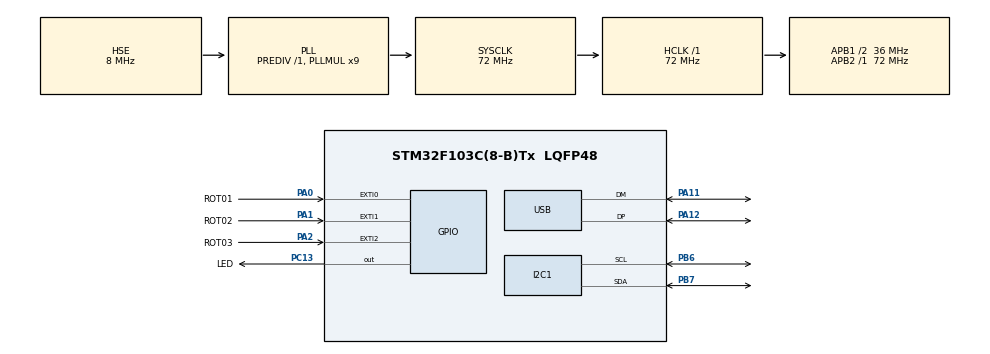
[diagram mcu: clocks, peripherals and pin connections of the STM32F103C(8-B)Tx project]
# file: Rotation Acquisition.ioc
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Mcu.Family=STM32F1
Mcu.Name=STM32F103C(8-B)Tx
Mcu.Package=LQFP48
NVIC.EXTI0_IRQn=true\:0\:0\:false\:false\:true\:true\:true\:true
NVIC.EXTI1_IRQn=true\:0\:0\:false\:false\:true\:true\:true\:true
NVIC.EXTI2_IRQn=true\:0\:0\:false\:false\:true\:true\:true\:true
NVIC.PriorityGroup=NVIC_PRIORITYGROUP_4
NVIC.USB_HP_CAN1_TX_IRQn=true\:0\:0\:false\:false\:true\:true\:true\:true
NVIC.USB_LP_CAN1_RX0_IRQn=true\:0\:0\:false\:false\:true\:false\:true\:true
PA0-WKUP.GPIO_Label=ROT01
PA0-WKUP.GPIO_ModeDefaultEXTI=GPIO_MODE_IT_RISING_FALLING
PA0-WKUP.Signal=GPXTI0
PA1.GPIO_Label=ROT02
PA1.GPIO_ModeDefaultEXTI=GPIO_MODE_IT_RISING_FALLING
PA1.Signal=GPXTI1
PA11.Mode=Device
PA11.Signal=USB_DM
PA12.Mode=Device
PA12.Signal=USB_DP
PA13.Mode=Serial_Wire
PA13.Signal=SYS_JTMS-SWDIO
PA14.Mode=Serial_Wire
PA14.Signal=SYS_JTCK-SWCLK
PA2.GPIO_Label=ROT03
PA2.GPIO_ModeDefaultEXTI=GPIO_MODE_IT_RISING_FALLING
PA2.Signal=GPXTI2
PB6.Mode=I2C
PB6.Signal=I2C1_SCL
PB7.Mode=I2C
PB7.Signal=I2C1_SDA
PC13-TAMPER-RTC.GPIO_Label=LED
PC13-TAMPER-RTC.Signal=GPIO_Output
PD0-OSC_IN.Mode=HSE-External-Oscillator
PD0-OSC_IN.Signal=RCC_OSC_IN
PD1-OSC_OUT.Mode=HSE-External-Oscillator
PD1-OSC_OUT.Signal=RCC_OSC_OUT
ProjectManager.HeapSize=0x200
ProjectManager.StackSize=0x400
ProjectManager.TargetToolchain=STM32CubeIDE
RCC.AHBFreq_Value=72000000
RCC.APB1CLKDivider=RCC_HCLK_DIV2
RCC.APB1Freq_Value=36000000
RCC.APB1TimFreq_Value=72000000
RCC.APB2Freq_Value=72000000
RCC.APB2TimFreq_Value=72000000
RCC.HCLKFreq_Value=72000000
RCC.PLLMUL=RCC_PLL_MUL9
RCC.PLLSourceVirtual=RCC_PLLSOURCE_HSE
RCC.SYSCLKFreq_VALUE=72000000
RCC.SYSCLKSource=RCC_SYSCLKSOURCE_PLLCLK
RCC.USBFreq_Value=48000000
RCC.USBPrescaler=RCC_USBCLKSOURCE_PLL_DIV1_5
USB_DEVICE.CLASS_NAME_FS=CDC
USB_DEVICE.MANUFACTURER_STRING=STMicroelectronics
USB_DEVICE.VirtualMode=Cdc
USB_DEVICE.VirtualModeFS=Cdc_FS
VP_USB_DEVICE_VS_USB_DEVICE_CDC_FS.Mode=CDC_FS
board=custom

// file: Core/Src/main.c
/* USER CODE BEGIN Header */
/**
  ******************************************************************************
  * @file           : main.c
  * @brief          : Main program body
  ******************************************************************************
  * @attention
  *
  * Copyright (c) 2024 STMicroelectronics.
  * All rights reserved.
  *
  * This software is licensed under terms that can be found in the LICENSE file
  * in the root directory of this software component.
  * If no LICENSE file comes with this software, it is provided AS-IS.
  *
  ******************************************************************************
  */
/* USER CODE END Header */
#include "main.h"
#include "i2c.h"
#include "usb_device.h"
#include "gpio.h"

/* USER CODE BEGIN Includes */
#include "usbd_cdc_if.h"
#include "stdio.h"
#include "string.h"
#include <stdint.h>
/* USER CODE END Includes */

/* USER CODE BEGIN PD */
#define MPU6050_ADDR 0xD0

#define SMPLRT_DIV_REG 0x19
#define GYRO_CONFIG_REG 0x1B
#define ACCEL_CONFIG_REG 0x1C
#define ACCEL_XOUT_H_REG 0x3B
#define TEMP_OUT_H_REG 0x41
#define GYRO_XOUT_H_REG 0x43
#define PWR_MGMT_1_REG 0x6B
#define WHO_AM_I_REG 0x75
/* USER CODE END PD */

/* USER CODE BEGIN PV */
uint16_t rotPulsesCnt_01 = 0;	// Variable to count the pulses in Interrupt Pin ROT01
uint16_t rotPulsesCnt_02 = 0;	// Variable to count the pulses in Interrupt Pin ROT02
uint16_t rotPulsesCnt_03 = 0;	// Variable to count the pulses in Interrupt Pin ROT03

uint16_t rot_01 = 0;	// Value of rotation in the Interrupt Pin ROT01
uint16_t rot_02 = 0;	// Value of rotation in the Interrupt Pin ROT02
uint16_t rot_03 = 0;	// Value of rotation in the Interrupt Pin ROT03
uint16_t timer_bfr = 0; // Timer before
uint16_t timer_curr = 0; // Current time
uint16_t rot_buff[3] = {0};

uint8_t Data;

int16_t Accel_X_RAW = 0;
int16_t Accel_Y_RAW = 0;
int16_t Accel_Z_RAW = 0;

int16_t Gyro_X_RAW = 0;
int16_t Gyro_Y_RAW = 0;
int16_t Gyro_Z_RAW = 0;

float accel[3];
int16_t dados[6];

float Ax, Ay, Az, Gx, Gy, Gz;

/* USER CODE END PV */

void SystemClock_Config(void);
/* USER CODE BEGIN PFP */
void HAL_GPIO_EXTI_Callback(uint16_t GPIO_Pin);
/* USER CODE END PFP */

int main(void)
{

  /* MCU Configuration--------------------------------------------------------*/

  /* Reset of all peripherals, Initializes the Flash interface and the Systick. */
  HAL_Init();

  /* Configure the system clock */
  SystemClock_Config();

  /* Initialize all configured peripherals */
  MX_GPIO_Init();
  MX_USB_DEVICE_Init();
  MX_I2C1_Init();
  /* USER CODE BEGIN 2 */
  MPU6050_Init();

  /* USER CODE END 2 */

  /* Infinite loop */
  /* USER CODE BEGIN WHILE */

  while (1)
  {

	  /* Get tick in millis */
	  timer_curr = HAL_GetTick();

	  /* Get the difference between the current timer and last timer in millis
	   * Calculate the rotation each 1000ms */
	  uint16_t timer_diff = timer_curr - timer_bfr;
	  if (timer_diff >= 100) {

		  MPU6050_Read_Accel();
//		  /* Calculate rotations in RPM*/
//		  rot_01 = 3*rotPulsesCnt_01;
//		  rot_02 = 3*rotPulsesCnt_02;
//		  rot_03 = 3*rotPulsesCnt_03;
//
//		  /* Reset pulse variables */
//		  rotPulsesCnt_01 = 0;
//		  rotPulsesCnt_02 = 0;
//		  rotPulsesCnt_03 = 0;
//
//		  /* Fill the buffer to transmit via USB*/
//		  rot_buff[0] = rot_01;
//		  rot_buff[1] = rot_02;
//		  rot_buff[2] = rot_03;
//
//		  /* Set the timer before as a current timer */
//		  timer_bfr = timer_curr;
//		  dados[0] = rot_buff[0];
//		  dados[1] = rot_buff[1];
//		  dados[2] = rot_buff[2];
		  dados[3] = Accel_X_RAW;
		  dados[4] = Accel_Y_RAW;
		  dados[5] = Accel_Z_RAW;

		  /* Transmit via USB */
		  CDC_Transmit_FS(dados, 12);
	  }
	  if (timer_diff >= 1000) {

		  MPU6050_Read_Accel();

		  /* Calculate rotations in RPM*/
		  rot_01 = 3*rotPulsesCnt_01;
		  rot_02 = 3*rotPulsesCnt_02;
		  rot_03 = 3*rotPulsesCnt_03;

		  /* Reset pulse variables */
		  rotPulsesCnt_01 = 0;
		  rotPulsesCnt_02 = 0;
		  rotPulsesCnt_03 = 0;

		  /* Fill the buffer to transmit via USB*/
		  rot_buff[0] = rot_01;
		  rot_buff[1] = rot_02;
		  rot_buff[2] = rot_03;

		  /* Set the timer before as a current timer */
		  timer_bfr = timer_curr;
		  dados[0] = rot_buff[0];
		  dados[1] = rot_buff[1];
		  dados[2] = rot_buff[2];

	  }

    /* USER CODE END WHILE */

  }
}

void SystemClock_Config(void)
{
  RCC_OscInitTypeDef RCC_OscInitStruct = {0};
  RCC_ClkInitTypeDef RCC_ClkInitStruct = {0};
  RCC_PeriphCLKInitTypeDef PeriphClkInit = {0};

  /** Initializes the RCC Oscillators according to the specified parameters
  * in the RCC_OscInitTypeDef structure.
  */
  RCC_OscInitStruct.OscillatorType = RCC_OSCILLATORTYPE_HSE;
  RCC_OscInitStruct.HSEState = RCC_HSE_ON;
  RCC_OscInitStruct.HSEPredivValue = RCC_HSE_PREDIV_DIV1;
  RCC_OscInitStruct.HSIState = RCC_HSI_ON;
  RCC_OscInitStruct.PLL.PLLState = RCC_PLL_ON;
  RCC_OscInitStruct.PLL.PLLSource = RCC_PLLSOURCE_HSE;
  RCC_OscInitStruct.PLL.PLLMUL = RCC_PLL_MUL9;
  if (HAL_RCC_OscConfig(&RCC_OscInitStruct) != HAL_OK)
  {
    Error_Handler();
  }

  /** Initializes the CPU, AHB and APB buses clocks
  */
  RCC_ClkInitStruct.ClockType = RCC_CLOCKTYPE_HCLK|RCC_CLOCKTYPE_SYSCLK
                              |RCC_CLOCKTYPE_PCLK1|RCC_CLOCKTYPE_PCLK2;
  RCC_ClkInitStruct.SYSCLKSource = RCC_SYSCLKSOURCE_PLLCLK;
  RCC_ClkInitStruct.AHBCLKDivider = RCC_SYSCLK_DIV1;
  RCC_ClkInitStruct.APB1CLKDivider = RCC_HCLK_DIV2;
  RCC_ClkInitStruct.APB2CLKDivider = RCC_HCLK_DIV1;

  if (HAL_RCC_ClockConfig(&RCC_ClkInitStruct, FLASH_LATENCY_2) != HAL_OK)
  {
    Error_Handler();
  }
  PeriphClkInit.PeriphClockSelection = RCC_PERIPHCLK_USB;
  PeriphClkInit.UsbClockSelection = RCC_USBCLKSOURCE_PLL_DIV1_5;
  if (HAL_RCCEx_PeriphCLKConfig(&PeriphClkInit) != HAL_OK)
  {
    Error_Handler();
  }
}

/* USER CODE BEGIN 4 */

/* External Interrupt Callback */
void HAL_GPIO_EXTI_Callback(uint16_t GPIO_Pin) {
	HAL_GPIO_TogglePin(LED_GPIO_Port, LED_Pin);	//Blink LED for debug
	if(GPIO_Pin == ROT01_Pin) {		//If pulse in ROT01 is detected, increase of pulse count variable.
		rotPulsesCnt_01++;
		return;
	}
	if(GPIO_Pin == ROT02_Pin) {		//If pulse in ROT02 is detected, increase of pulse count variable.
		rotPulsesCnt_02++;
		return;
	}
	if(GPIO_Pin == ROT03_Pin) {		//If pulse in ROT03 is detected, increase of pulse count variable.
		rotPulsesCnt_03++;
		return;
	}
}

void MPU6050_Init (void)
{
	uint8_t check;
	uint8_t Data;

	// check device ID WHO_AM_I

	HAL_I2C_Mem_Read (&hi2c1, MPU6050_ADDR,WHO_AM_I_REG,1, &check, 1, 1000);

	if (check == 104)  // 0x68 will be returned by the sensor if everything goes well
	{
		// power management register 0X6B we should write all 0's to wake the sensor up
		Data = 0;
		HAL_I2C_Mem_Write(&hi2c1, MPU6050_ADDR, PWR_MGMT_1_REG, 1,&Data, 1, 1000);

		// Set DATA RATE of 1KHz by writing SMPLRT_DIV register
		Data = 0x07;
		HAL_I2C_Mem_Write(&hi2c1, MPU6050_ADDR, SMPLRT_DIV_REG, 1, &Data, 1, 1000);

		// Set accelerometer configuration in ACCEL_CONFIG Register
		// XA_ST=0,YA_ST=0,ZA_ST=0, FS_SEL=0 -> � 2g
		Data = 0x00;
		HAL_I2C_Mem_Write(&hi2c1, MPU6050_ADDR, ACCEL_CONFIG_REG, 1, &Data, 1, 1000);

		// Set Gyroscopic configuration in GYRO_CONFIG Register
		// XG_ST=0,YG_ST=0,ZG_ST=0, FS_SEL=0 -> � 250 �/s
		Data = 0x00;
		HAL_I2C_Mem_Write(&hi2c1, MPU6050_ADDR, GYRO_CONFIG_REG, 1, &Data, 1, 1000);
	}

}

void MPU6050_Read_Accel (void)
{
	uint8_t Rec_Data[6];

	// Read 6 BYTES of data starting from ACCEL_XOUT_H register

	HAL_I2C_Mem_Read (&hi2c1, MPU6050_ADDR, ACCEL_XOUT_H_REG, 1, Rec_Data, 6, 1000);

	Accel_X_RAW = (int16_t)(Rec_Data[0] << 8 | Rec_Data [1]);
	Accel_Y_RAW = (int16_t)(Rec_Data[2] << 8 | Rec_Data [3]);
	Accel_Z_RAW = (int16_t)(Rec_Data[4] << 8 | Rec_Data [5]);

	/*** convert the RAW values into acceleration in 'g'
	     we have to divide according to the Full scale value set in FS_SEL
	     I have configured FS_SEL = 0. So I am dividing by 16384.0
	     for more details check ACCEL_CONFIG Register              ****/

	Ax = Accel_X_RAW/16384.0;
	Ay = Accel_Y_RAW/16384.0;
	Az = Accel_Z_RAW/16384.0;

}

void MPU6050_Read_Gyro (void)
{
	uint8_t Rec_Data[6];

	// Read 6 BYTES of data starting from GYRO_XOUT_H register

	HAL_I2C_Mem_Read (&hi2c1, MPU6050_ADDR, GYRO_XOUT_H_REG, 1, Rec_Data, 6, 1000);

	Gyro_X_RAW = (int16_t)(Rec_Data[0] << 8 | Rec_Data [1]);
	Gyro_Y_RAW = (int16_t)(Rec_Data[2] << 8 | Rec_Data [3]);
	Gyro_Z_RAW = (int16_t)(Rec_Data[4] << 8 | Rec_Data [5]);

	/*** convert the RAW values into dps (�/s)
	     we have to divide according to the Full scale value set in FS_SEL
	     I have configured FS_SEL = 0. So I am dividing by 131.0
	     for more details check GYRO_CONFIG Register              ****/

	Gx = Gyro_X_RAW/131.0;
	Gy = Gyro_Y_RAW/131.0;
	Gz = Gyro_Z_RAW/131.0;
}

void floatToBytes(float floatValue, uint8_t *byteArray) {
    // Cria um ponteiro para o valor float
    uint8_t *floatPointer = (uint8_t *)&floatValue;

    // Copia os bytes do float para o array de bytes
    for (int i = 0; i < sizeof(float); i++) {
        byteArray[i] = *(floatPointer + i);
    }
}

/* USER CODE END 4 */

void Error_Handler(void)
{
  __disable_irq();
  while (1)
  {
  }
}
